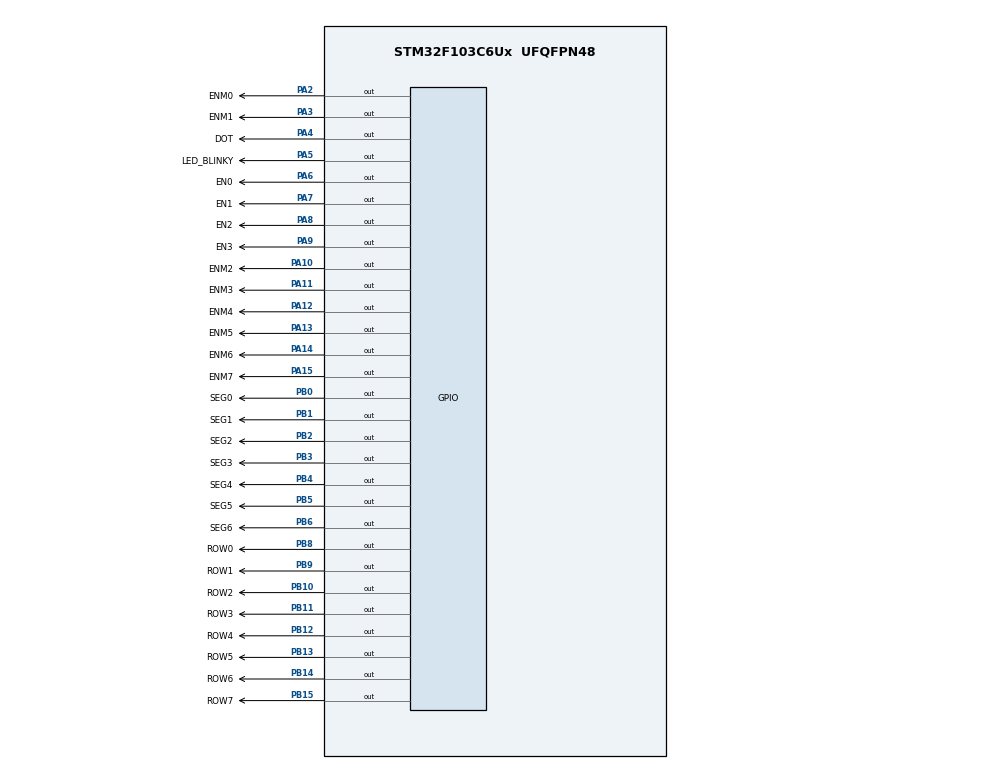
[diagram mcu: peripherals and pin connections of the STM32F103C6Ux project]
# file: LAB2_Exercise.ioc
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Mcu.Family=STM32F1
Mcu.Name=STM32F103C6Ux
Mcu.Package=UFQFPN48
NVIC.PriorityGroup=NVIC_PRIORITYGROUP_4
NVIC.TIM2_IRQn=true\:0\:0\:false\:false\:true\:true\:true
PA10.GPIO_Label=ENM2
PA10.Signal=GPIO_Output
PA11.GPIO_Label=ENM3
PA11.Signal=GPIO_Output
PA12.GPIO_Label=ENM4
PA12.Signal=GPIO_Output
PA13.GPIO_Label=ENM5
PA13.Signal=GPIO_Output
PA14.GPIO_Label=ENM6
PA14.Signal=GPIO_Output
PA15.GPIO_Label=ENM7
PA15.Signal=GPIO_Output
PA2.GPIO_Label=ENM0
PA2.Signal=GPIO_Output
PA3.GPIO_Label=ENM1
PA3.Signal=GPIO_Output
PA4.GPIO_Label=DOT
PA4.Signal=GPIO_Output
PA5.GPIO_Label=LED_BLINKY
PA5.Signal=GPIO_Output
PA6.GPIO_Label=EN0
PA6.Signal=GPIO_Output
PA7.GPIO_Label=EN1
PA7.Signal=GPIO_Output
PA8.GPIO_Label=EN2
PA8.Signal=GPIO_Output
PA9.GPIO_Label=EN3
PA9.Signal=GPIO_Output
PB0.GPIO_Label=SEG0
PB0.Signal=GPIO_Output
PB1.GPIO_Label=SEG1
PB1.Signal=GPIO_Output
PB10.GPIO_Label=ROW2
PB10.Signal=GPIO_Output
PB11.GPIO_Label=ROW3
PB11.Signal=GPIO_Output
PB12.GPIO_Label=ROW4
PB12.Signal=GPIO_Output
PB13.GPIO_Label=ROW5
PB13.Signal=GPIO_Output
PB14.GPIO_Label=ROW6
PB14.Signal=GPIO_Output
PB15.GPIO_Label=ROW7
PB15.Signal=GPIO_Output
PB2.GPIO_Label=SEG2
PB2.Signal=GPIO_Output
PB3.GPIO_Label=SEG3
PB3.Signal=GPIO_Output
PB4.GPIO_Label=SEG4
PB4.Signal=GPIO_Output
PB5.GPIO_Label=SEG5
PB5.Signal=GPIO_Output
PB6.GPIO_Label=SEG6
PB6.Signal=GPIO_Output
PB8.GPIO_Label=ROW0
PB8.Signal=GPIO_Output
PB9.GPIO_Label=ROW1
PB9.Signal=GPIO_Output
ProjectManager.HeapSize=0x200
ProjectManager.StackSize=0x400
ProjectManager.TargetToolchain=STM32CubeIDE
RCC.APB1Freq_Value=8000000
RCC.APB2Freq_Value=8000000
TIM2.Period=9
TIM2.Prescaler=7999
VP_SYS_VS_ND.Mode=No_Debug
VP_TIM2_VS_ClockSourceINT.Mode=Internal
board=custom

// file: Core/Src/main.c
/* USER CODE BEGIN Header */
/**
  ******************************************************************************
  * @file           : main.c
  * @brief          : Main program body
  ******************************************************************************
  * @attention
  *
  * <h2><center>&copy; Copyright (c) 2025 STMicroelectronics.
  * All rights reserved.</center></h2>
  *
  * This software component is licensed by ST under BSD 3-Clause license,
  * the "License"; You may not use this file except in compliance with the
  * License. You may obtain a copy of the License at:
  *                        opensource.org/licenses/BSD-3-Clause
  *
  ******************************************************************************
  */
/* USER CODE END Header */
#include "main.h"

/* USER CODE BEGIN Includes */
#include "software_timer.h"
#include "global.h"
#include "led_matrix.h"
/* USER CODE END Includes */

TIM_HandleTypeDef htim2;

void SystemClock_Config(void);
static void MX_GPIO_Init(void);
static void MX_TIM2_Init(void);

int main(void)
{

  /* MCU Configuration--------------------------------------------------------*/

  /* Reset of all peripherals, Initializes the Flash interface and the Systick. */
  HAL_Init();

  /* Configure the system clock */
  SystemClock_Config();

  /* Initialize all configured peripherals */
  MX_GPIO_Init();
  MX_TIM2_Init();
  /* USER CODE BEGIN 2 */
  HAL_TIM_Base_Start_IT(&htim2);
  /* USER CODE END 2 */

  /* Infinite loop */
  /* USER CODE BEGIN WHILE */
  LED7_OFF();

  setTimer(TIMER_LED_MULTIPLEXING, 100);
  setTimer(TIMER_DOT_BLINK       , 100);
  setTimer(TIMER_LED_BLINKY      , 100);
  setTimer(TIMER_CLOCK           , 100);
  setTimer(TIMER_LED_MATRIX      , 2  );
  setTimer(TIMER_SHIFT_MATRIX    , 2  );
  while (1)
  {
	  if(isTimerExpired(TIMER_CLOCK)){
	  		second++;
	  		if(second >= 60){
	  			second = 0;
	  			minute++;
	  		}
	  		if(minute >= 60){
	  		    minute = 0;
	  		    hour++;
	  	    }
	  		if(hour >= 24){
	  			hour = 0;
	  		}
	  		updateClockBuffer();
	  		setTimer(TIMER_CLOCK,100);
	  }

      if(isTimerExpired(TIMER_DOT_BLINK)) {
      		Dot_state();
      		setTimer(TIMER_DOT_BLINK, 100);
      }

      if(isTimerExpired(TIMER_LED_BLINKY)) {
      		LED_BLINKY();
      		setTimer(TIMER_LED_BLINKY, 100);
      }

      if(isTimerExpired(TIMER_LED_MULTIPLEXING)) {
         	update7SEG(index_led++);
            if(index_led >= MAX_LED) index_led = 0;
            setTimer(TIMER_LED_MULTIPLEXING, 25);
      }

      if(isTimerExpired(TIMER_SHIFT_MATRIX)){
            shiftMatrixLeft();
            setTimer(TIMER_SHIFT_MATRIX, 50);
      }

      if(isTimerExpired(TIMER_LED_MATRIX)){
            updateLEDMatrix(index_matrix);
            index_matrix++;
            if(index_matrix >= MAX_LED_MATRIX) index_matrix = 0;
            setTimer(TIMER_LED_MATRIX, 1);
      }
    /* USER CODE END WHILE */

  }
}

void SystemClock_Config(void)
{
  RCC_OscInitTypeDef RCC_OscInitStruct = {0};
  RCC_ClkInitTypeDef RCC_ClkInitStruct = {0};

  /** Initializes the RCC Oscillators according to the specified parameters
  * in the RCC_OscInitTypeDef structure.
  */
  RCC_OscInitStruct.OscillatorType = RCC_OSCILLATORTYPE_HSI;
  RCC_OscInitStruct.HSIState = RCC_HSI_ON;
  RCC_OscInitStruct.HSICalibrationValue = RCC_HSICALIBRATION_DEFAULT;
  RCC_OscInitStruct.PLL.PLLState = RCC_PLL_NONE;
  if (HAL_RCC_OscConfig(&RCC_OscInitStruct) != HAL_OK)
  {
    Error_Handler();
  }
  /** Initializes the CPU, AHB and APB buses clocks
  */
  RCC_ClkInitStruct.ClockType = RCC_CLOCKTYPE_HCLK|RCC_CLOCKTYPE_SYSCLK
                              |RCC_CLOCKTYPE_PCLK1|RCC_CLOCKTYPE_PCLK2;
  RCC_ClkInitStruct.SYSCLKSource = RCC_SYSCLKSOURCE_HSI;
  RCC_ClkInitStruct.AHBCLKDivider = RCC_SYSCLK_DIV1;
  RCC_ClkInitStruct.APB1CLKDivider = RCC_HCLK_DIV1;
  RCC_ClkInitStruct.APB2CLKDivider = RCC_HCLK_DIV1;

  if (HAL_RCC_ClockConfig(&RCC_ClkInitStruct, FLASH_LATENCY_0) != HAL_OK)
  {
    Error_Handler();
  }
}

static void MX_TIM2_Init(void)
{

  TIM_ClockConfigTypeDef sClockSourceConfig = {0};
  TIM_MasterConfigTypeDef sMasterConfig = {0};

  htim2.Instance = TIM2;
  htim2.Init.Prescaler = 7999;
  htim2.Init.CounterMode = TIM_COUNTERMODE_UP;
  htim2.Init.Period = 9;
  htim2.Init.ClockDivision = TIM_CLOCKDIVISION_DIV1;
  htim2.Init.AutoReloadPreload = TIM_AUTORELOAD_PRELOAD_DISABLE;
  if (HAL_TIM_Base_Init(&htim2) != HAL_OK)
  {
    Error_Handler();
  }
  sClockSourceConfig.ClockSource = TIM_CLOCKSOURCE_INTERNAL;
  if (HAL_TIM_ConfigClockSource(&htim2, &sClockSourceConfig) != HAL_OK)
  {
    Error_Handler();
  }
  sMasterConfig.MasterOutputTrigger = TIM_TRGO_RESET;
  sMasterConfig.MasterSlaveMode = TIM_MASTERSLAVEMODE_DISABLE;
  if (HAL_TIMEx_MasterConfigSynchronization(&htim2, &sMasterConfig) != HAL_OK)
  {
    Error_Handler();
  }

}

static void MX_GPIO_Init(void)
{
  GPIO_InitTypeDef GPIO_InitStruct = {0};

  /* GPIO Ports Clock Enable */
  __HAL_RCC_GPIOA_CLK_ENABLE();
  __HAL_RCC_GPIOB_CLK_ENABLE();

  /*Configure GPIO pin Output Level */
  HAL_GPIO_WritePin(GPIOA, ENM0_Pin|ENM1_Pin|DOT_Pin|LED_BLINKY_Pin
                          |EN0_Pin|EN1_Pin|EN2_Pin|EN3_Pin
                          |ENM2_Pin|ENM3_Pin|ENM4_Pin|ENM5_Pin
                          |ENM6_Pin|ENM7_Pin, GPIO_PIN_RESET);

  /*Configure GPIO pin Output Level */
  HAL_GPIO_WritePin(GPIOB, SEG0_Pin|SEG1_Pin|SEG2_Pin|ROW2_Pin
                          |ROW3_Pin|ROW4_Pin|ROW5_Pin|ROW6_Pin
                          |ROW7_Pin|SEG3_Pin|SEG4_Pin|SEG5_Pin
                          |SEG6_Pin|ROW0_Pin|ROW1_Pin, GPIO_PIN_RESET);

  /*Configure GPIO pins : ENM0_Pin ENM1_Pin DOT_Pin LED_BLINKY_Pin
                           EN0_Pin EN1_Pin EN2_Pin EN3_Pin
                           ENM2_Pin ENM3_Pin ENM4_Pin ENM5_Pin
                           ENM6_Pin ENM7_Pin */
  GPIO_InitStruct.Pin = ENM0_Pin|ENM1_Pin|DOT_Pin|LED_BLINKY_Pin
                          |EN0_Pin|EN1_Pin|EN2_Pin|EN3_Pin
                          |ENM2_Pin|ENM3_Pin|ENM4_Pin|ENM5_Pin
                          |ENM6_Pin|ENM7_Pin;
  GPIO_InitStruct.Mode = GPIO_MODE_OUTPUT_PP;
  GPIO_InitStruct.Pull = GPIO_NOPULL;
  GPIO_InitStruct.Speed = GPIO_SPEED_FREQ_LOW;
  HAL_GPIO_Init(GPIOA, &GPIO_InitStruct);

  /*Configure GPIO pins : SEG0_Pin SEG1_Pin SEG2_Pin ROW2_Pin
                           ROW3_Pin ROW4_Pin ROW5_Pin ROW6_Pin
                           ROW7_Pin SEG3_Pin SEG4_Pin SEG5_Pin
                           SEG6_Pin ROW0_Pin ROW1_Pin */
  GPIO_InitStruct.Pin = SEG0_Pin|SEG1_Pin|SEG2_Pin|ROW2_Pin
                          |ROW3_Pin|ROW4_Pin|ROW5_Pin|ROW6_Pin
                          |ROW7_Pin|SEG3_Pin|SEG4_Pin|SEG5_Pin
                          |SEG6_Pin|ROW0_Pin|ROW1_Pin;
  GPIO_InitStruct.Mode = GPIO_MODE_OUTPUT_PP;
  GPIO_InitStruct.Pull = GPIO_NOPULL;
  GPIO_InitStruct.Speed = GPIO_SPEED_FREQ_LOW;
  HAL_GPIO_Init(GPIOB, &GPIO_InitStruct);

}

/* USER CODE BEGIN 4 */
 void HAL_TIM_PeriodElapsedCallback(TIM_HandleTypeDef *htim){
	runTimer();
  }
/* USER CODE END 4 */

void Error_Handler(void)
{
  __disable_irq();
  while (1)
  {
  }
}

/************************ (C) COPYRIGHT STMicroelectronics *****END OF FILE****/
